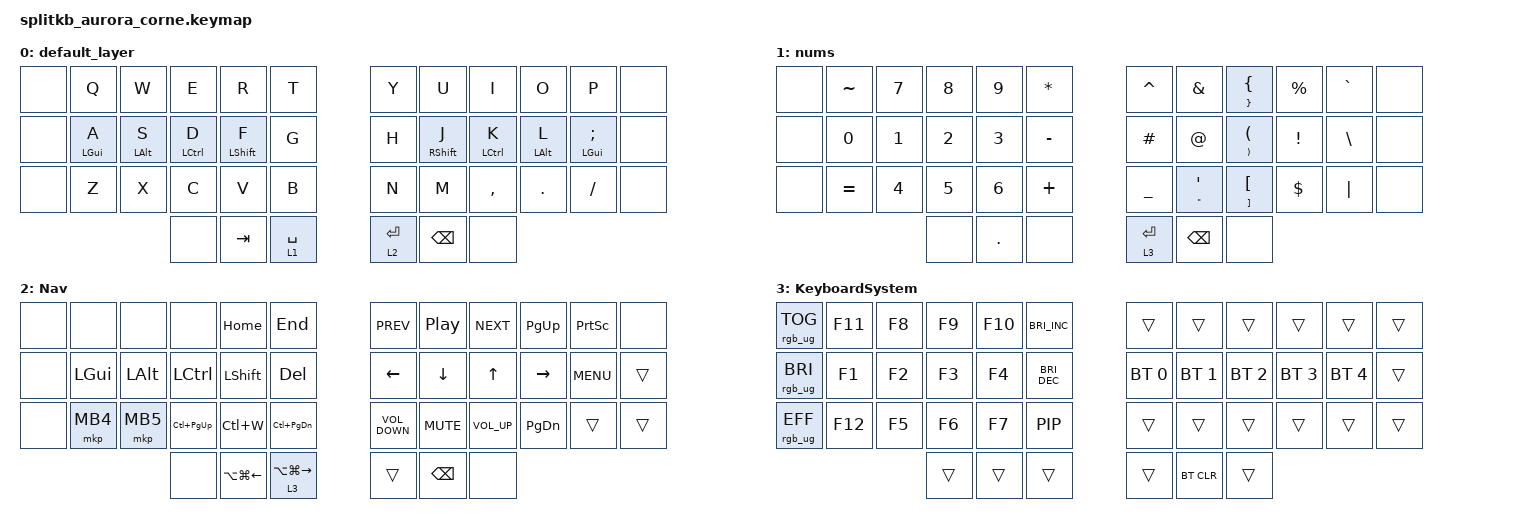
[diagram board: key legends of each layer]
/*
 * Copyright (c) 2020 The ZMK Contributors
 *
 * SPDX-License-Identifier: MIT
 */

#include <behaviors.dtsi>
#include <dt-bindings/zmk/bt.h>
#include <dt-bindings/zmk/keys.h>
#include <dt-bindings/zmk/mouse.h>
#include <dt-bindings/zmk/rgb.h>

/ {
    combos {
        compatible = "zmk,combos";

        escape-QW {
            bindings = <&kp ESCAPE>;
            key-positions = <1 2>;
        };
    };

    behaviors {
        ht: hold_tap {
            compatible = "zmk,behavior-hold-tap";
            bindings = <&kp>, <&kp>;

            #binding-cells = <2>;
            tapping-term-ms = <220>;
            quick-tap-ms = <150>;
            require-prior-idle-ms = <100>;
            flavor = "tap-preferred";
        };

        htShift: htShift {
            compatible = "zmk,behavior-hold-tap";
            bindings = <&kp>, <&kp>;

            #binding-cells = <2>;
            tapping-term-ms = <220>;
            quick-tap-ms = <150>;
            require-prior-idle-ms = <100>;
            flavor = "balanced";
            label = "HTSHIFT";
        };
    };

    keymap {
        compatible = "zmk,keymap";

        default_layer {
            // -----------------------------------------------------------------------------------------
            // |  TAB |  Q  |  W  |  E  |  R  |  T  |   |  Y  |  U   |  I  |  O  |  P  | BKSP |
            // | CTRL |  A  |  S  |  D  |  F  |  G  |   |  H  |  J   |  K  |  L  |  ;  |  '   |
            // | SHFT |  Z  |  X  |  C  |  V  |  B  |   |  N  |  M   |  ,  |  .  |  /  | ESC  |
            //                    | GUI | LWR | SPC |   | ENT | RSE  | ALT |

            bindings = <
&none  &kp Q           &kp W           &kp E        &kp R                  &kp T          &kp Y        &kp U                   &kp I        &kp O           &kp P                   &none
&none  &ht LEFT_GUI A  &ht LEFT_ALT S  &ht LCTRL D  &htShift LEFT_SHIFT F  &kp G          &kp H        &htShift RIGHT_SHIFT J  &ht LCTRL K  &ht LEFT_ALT L  &ht LEFT_GUI SEMICOLON  &none
&none  &kp Z           &kp X           &kp C        &kp V                  &kp B          &kp N        &kp M                   &kp COMMA    &kp DOT         &kp FSLH                &none
                                       &none        &kp TAB                &lt 1 SPACE    &lt 2 ENTER  &kp BACKSPACE           &none
            >;
        };

        nums {
            // -----------------------------------------------------------------------------------------
            // |  TAB |  !  |  @  |  #  |  $  |  %  |   |  ^  |  &  |  *  |  (  |  )  | BKSP |
            // | CTRL |     |     |     |     |     |   |  -  |  =  |  [  |  ]  |  \  |  `   |
            // | SHFT |     |     |     |     |     |   |  _  |  +  |  {  |  }  | "|" |  ~   |
            //                    | GUI |     | SPC |   | ENT |     | ALT |

            bindings = <
&none  &kp TILDE  &kp N7  &kp N8  &kp N9      &kp STAR     &kp CARET    &kp AMPS                        &mt RIGHT_BRACE LEFT_BRACE              &kp PERCENT      &kp GRAVE  &none
&none  &kp N0     &kp N1  &kp N2  &kp N3      &kp MINUS    &kp HASH     &kp AT                          &mt RIGHT_PARENTHESIS LEFT_PARENTHESIS  &kp EXCLAMATION  &kp BSLH   &none
&none  &kp EQUAL  &kp N4  &kp N5  &kp N6      &kp PLUS     &kp UNDER    &mt DOUBLE_QUOTES SINGLE_QUOTE  &mt RIGHT_BRACKET LEFT_BRACKET          &kp DOLLAR       &kp PIPE   &none
                          &none   &kp PERIOD  &none        &lt 3 ENTER  &kp BACKSPACE                   &none
            >;
        };

        Nav {
            // -----------------------------------------------------------------------------------------
            // |  TAB |  1  |  2  |  3  |  4  |  5  |   |  6  |  7  |  8  |  9  |  0  | BKSP |
            // | BTCLR| BT1 | BT2 | BT3 | BT4 | BT5 |   | LFT | DWN |  UP | RGT |     |      |
            // | SHFT |     |     |     |     |     |   |     |     |     |     |     |      |
            //                    | GUI |     | SPC |   | ENT |     | ALT |

            bindings = <
&none  &none         &none         &none            &kp HOME          &kp END                &kp C_PREV         &kp C_PLAY_PAUSE  &kp C_NEXT       &kp PAGE_UP    &kp PRINTSCREEN  &none
&none  &kp LEFT_GUI  &kp LEFT_ALT  &kp LCTRL        &kp LEFT_SHIFT    &kp DELETE             &kp LEFT           &kp DOWN          &kp UP           &kp RIGHT      &kp C_MENU       &trans
&none  &mkp MB4      &mkp MB5      &kp LC(PAGE_UP)  &kp LC(W)         &kp LC(PAGE_DOWN)      &kp C_VOLUME_DOWN  &kp K_MUTE        &kp C_VOLUME_UP  &kp PAGE_DOWN  &trans           &trans
                                   &none            &kp LA(LG(LEFT))  &lt 3 LA(LG(RIGHT))    &trans             &kp BACKSPACE     &none
            >;
        };

        KeyboardSystem {
            bindings = <
&rgb_ug RGB_TOG  &kp F11  &kp F8  &kp F9  &kp F10  &kp C_BRIGHTNESS_INC    &trans        &trans        &trans        &trans        &trans        &trans
&rgb_ug RGB_BRI  &kp F1   &kp F2  &kp F3  &kp F4   &kp C_BRIGHTNESS_DEC    &bt BT_SEL 0  &bt BT_SEL 1  &bt BT_SEL 2  &bt BT_SEL 3  &bt BT_SEL 4  &trans
&rgb_ug RGB_EFF  &kp F12  &kp F5  &kp F6  &kp F7   &kp C_PIP               &trans        &trans        &trans        &trans        &trans        &trans
                                  &trans  &trans   &trans                  &trans        &bt BT_CLR    &trans
            >;
        };
    };
};
